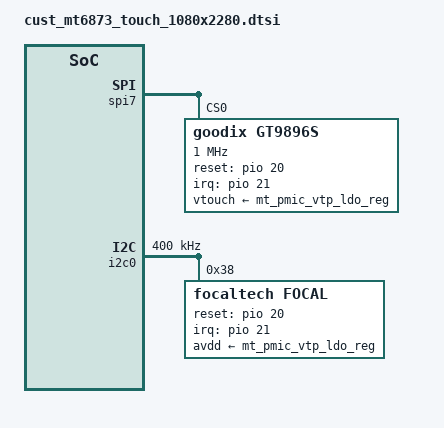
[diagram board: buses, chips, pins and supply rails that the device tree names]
/*
 * Copyright (c) 2019 MediaTek Inc.
 * Copyright (C) 2021 XiaoMi, Inc.
 *
 * This program is free software; you can redistribute it and/or modify
 * it under the terms of the GNU General Public License version 2 as
 * published by the Free Software Foundation.
 *
 * This program is distributed in the hope that it will be useful,
 * but WITHOUT ANY WARRANTY; without even the implied warranty of
 * MERCHANTABILITY or FITNESS FOR A PARTICULAR PURPOSE.  See the
 * GNU General Public License for more details.
 */
/* TOUCH start */
&spi7 {
	status = "okay";
	#address-cells = <1>;
	#size-cells = <0>;
	pinctrl-names = "default", "gt9896s_int_active",
		"gt9896s_reset_active", "gt9896s_int_suspend",
		"gt9896s_reset_suspend", "gt9896s_spi_mode";
	pinctrl-0 = <&ctp_gt9896s_pins_default>;
	pinctrl-1 = <&ctp_gt9896s_int_active>;
	pinctrl-2 = <&ctp_gt9896s_reset_active>;
	pinctrl-3 = <&ctp_gt9896s_int_suspend>;
	pinctrl-4 = <&ctp_gt9896s_reset_suspend>;
	pinctrl-5 = <&ctp_gt9896s_spi_mode>;

	gt9896s@0 {
		compatible = "goodix,gt9896s";
		reg = <0>; //Same as CS ID
		spi-max-frequency = <1000000>;

		goodix,avdd-name = "vtouch";
		vtouch-supply = <&mt_pmic_vtp_ldo_reg>;
		goodix,reset-gpio = <&pio 20 0x0>;
		goodix,irq-gpio = <&pio 21 0x0>;
		goodix,irq-flags = <2>; /* 1:rising, 2:falling;*/
		goodix,panel-max-id = <10>;
		goodix,panel-max-x = <1080>;
		goodix,panel-max-y = <2280>;
		goodix,panel-max-w = <256>;
		goodix,panel-max-p = <256>;
		goodix,input-max-x = <1080>;
		goodix,input-max-y = <2280>;
		goodix,panel-key-map = <158 172 217>; /*BACK,HOMEPAGE,SEARCH*/
		goodix,power-on-delay-us = <10000>; /*10ms*/
		goodix,power-off-delay-us = <5000>;
		goodix,firmware-version = "6873v00";
		goodix,config-version = "6873v01";
		/*goodix,swap-axis;*/
		/*goodix,x2x;*/
		/*goodix,y2y;*/
		goodix,pen-enable;
		tpd-filter-enable = <0>;
		tpd-filter-pixel-density = <161>;
		tpd-filter-custom-prameters = <0 0 0 0 0 0 0 0 0 0 0 0>;
		tpd-filter-custom-speed = <0 0 0>;
	};
};

&i2c0 {
	clock-frequency = <400000>;
	pinctrl-names = "default", "ts_int_active",
		"ts_reset_active", "ts_int_suspend",
		"ts_reset_suspend", "ts_i2c_mode";
	pinctrl-0 = <&ctp_pins_default>;
	pinctrl-1 = <&ctp_ts_int_active>;
	pinctrl-2 = <&ctp_ts_reset_active>;
	pinctrl-3 = <&ctp_ts_int_suspend>;
	pinctrl-4 = <&ctp_ts_reset_suspend>;
	pinctrl-5 = <&ctp_ts_i2c_mode>;

	gt9886@5d {
		compatible = "goodix,gt9886";
		reg = <0x5d>;
		status = "disable";
		interrupt-parent = <&pio>;
		interrupts = <21 IRQ_TYPE_EDGE_FALLING 21 0>;
		vtouch-supply = <&mt_pmic_vtp_ldo_reg>;
		goodix,reset-gpio = <&pio 20 0x0>;
		goodix,irq-gpio = <&pio 21 0x0>;
		goodix,irq-flags = <2>; /* 1:rising, 2:falling;*/
		goodix,panel-max-id = <10>;
		goodix,panel-max-x = <1080>;
		goodix,panel-max-y = <2280>;
		goodix,panel-max-w = <256>;
		goodix,panel-max-p = <256>;
		goodix,input-max-x = <1080>;
		goodix,input-max-y = <2280>;
		goodix,panel-key-map = <158 172 217>; /*BACK,HOMEPAGE,SEARCH*/
		goodix,power-on-delay-us = <10000>; /*10ms*/
		goodix,power-off-delay-us = <5000>;
		goodix,firmware-version = "6885v01";
		goodix,config-version = "6885v01";
		/*goodix,swap-axis;*/
		/*goodix,x2x;*/
		/*goodix,y2y;*/
		goodix,pen-enable;
		goodix,key-of-pen = <331 332>;/*BTN_STYLUS, BTN_STYLUS2*/
		tpd-filter-enable = <0>;
		tpd-filter-pixel-density = <161>;
		tpd-filter-custom-prameters = <0 0 0 0 0 0 0 0 0 0 0 0>;
		tpd-filter-custom-speed = <0 0 0>;
	};

};

&pio {
	ctp_pins_default: eintdefault {
	};
	ctp_gt9896s_pins_default: pins_default {
	};
	ctp_ts_int_active: int_active {
		pins_cmd_dat {
			pinmux = <PINMUX_GPIO21__FUNC_GPIO21>;
			input-enable;
		};
	};
	ctp_ts_reset_active: reset_active {
		pins_cmd_dat {
			pinmux = <PINMUX_GPIO20__FUNC_GPIO20>;
			output-high;
		};
	};
	ctp_ts_int_suspend: int_suspend {
		pins_cmd_dat {
			pinmux = <PINMUX_GPIO21__FUNC_GPIO21>;
			output-low;
		};
	};
	ctp_ts_reset_suspend: reset_suspend {
		pins_cmd_dat {
			pinmux = <PINMUX_GPIO20__FUNC_GPIO20>;
			output-low;
		};
	};
	ctp_ts_i2c_mode: i2cmode_default {
		pins_cmd_dat {
			pinmux = <PINMUX_GPIO204__FUNC_SCL0>,
				<PINMUX_GPIO205__FUNC_SDA0>;
		};
	};
	ctp_gt9896s_int_active: int1_active {
		pins_cmd_dat {
			pinmux = <PINMUX_GPIO21__FUNC_GPIO21>;
			input-enable;
		};
	};
	ctp_gt9896s_reset_active: reset1_active {
		pins_cmd_dat {
			pinmux = <PINMUX_GPIO20__FUNC_GPIO20>;
			output-high;
		};
	};
	ctp_gt9896s_int_suspend: int1_suspend {
		pins_cmd_dat {
			pinmux = <PINMUX_GPIO21__FUNC_GPIO21>;
			output-low;
		};
	};
	ctp_gt9896s_reset_suspend: reset1_suspend {
		pins_cmd_dat {
			pinmux = <PINMUX_GPIO20__FUNC_GPIO20>;
			output-low;
		};
	};
	ctp_gt9896s_spi_mode: spimode_default {
		pins_cmd_dat {
			pinmux = <PINMUX_GPIO16__FUNC_SPI7_A_MI>,
				<PINMUX_GPIO17__FUNC_SPI7_A_MO>,
				<PINMUX_GPIO204__FUNC_SPI7_A_CLK>,
				<PINMUX_GPIO205__FUNC_SPI7_A_CSB>;
			drive-strength = <2>;
		};
	};
};

&i2c0 {
	focaltech@38 {
		compatible = "focaltech,focal";
		reg = <0x38>;
		status = "ok";
		interrupt-parent = <&pio>;
		interrupts = <21 IRQ_TYPE_EDGE_FALLING 21 0>;
		avdd-supply = <&mt_pmic_vtp_ldo_reg>;
		/*vddio-supply = <&mt_pmic_vcn33_1_wifi_ldo_reg>;*/
		/* avdd-supply = <&pm8150a_l1>; */
		/*focaltech,vdd-gpio = <&tlmm 8 0x0>;//3v*/
		focaltech,avdd-load = <200000>; //rated current 200mA
		focaltech,reset-gpio = <&pio 20 0x0>;
		focaltech,irq-gpio = <&pio 21 0x0>;
		focaltech,max-touch-number = <10>;
		focaltech,display-coords = <0 0 1080 2400>;
		focaltech,reset-when-resume;
		focaltech,lockdown-info-addr = <0x1E000>;
		focaltech,open-min = <2700>;
		pinctrl-names = "pmx_tp_active", "pmx_tp_suspend";
		pinctrl-0 = <&tp_int_active &tp_reset_active>;
		pinctrl-1 = <&tp_int_suspend &tp_reset_suspend>;
		/* focaltech,have-key; */
	};
};

&pio {
	tp_int_active: tp_int_active {
		pins_cmd_dat {
			pinmux = <PINMUX_GPIO21__FUNC_GPIO21>;
			slew-rate = <0>;
			bias-pull-up = <11>;
		};
	};

	tp_reset_active: tp_reset_active {
		pins_cmd_dat {
			pinmux = <PINMUX_GPIO20__FUNC_GPIO20>;
			slew-rate = <1>;
			drive-strength = <2>;
			bias-pull-up;
		};
	};

	tp_int_suspend: tp_int_suspend {
		pins_cmd_dat {
			pinmux = <PINMUX_GPIO21__FUNC_GPIO21>;
			slew-rate = <1>;
			input-enable;
		};
	};

	tp_reset_suspend: tp_reset_suspend {
		pins_cmd_dat {
			pinmux = <PINMUX_GPIO20__FUNC_GPIO20>;
			slew-rate = <1>;
			bias-disable;
		};
	};
};
/* TOUCH end */
